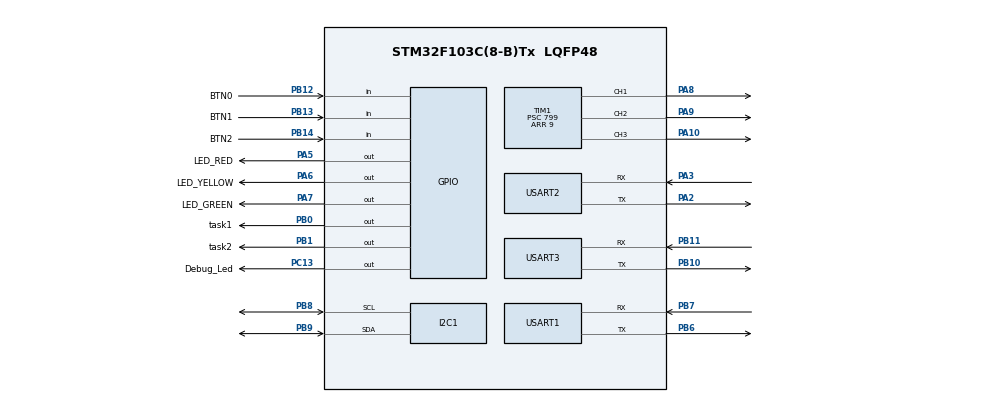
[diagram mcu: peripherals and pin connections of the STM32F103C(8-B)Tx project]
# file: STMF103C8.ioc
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Dma.Request0=USART3_TX
Dma.Request1=USART1_TX
Dma.USART1_TX.1.Direction=DMA_MEMORY_TO_PERIPH
Dma.USART1_TX.1.Instance=DMA1_Channel4
Dma.USART1_TX.1.MemDataAlignment=DMA_MDATAALIGN_BYTE
Dma.USART1_TX.1.MemInc=DMA_MINC_ENABLE
Dma.USART1_TX.1.Mode=DMA_NORMAL
Dma.USART1_TX.1.PeriphDataAlignment=DMA_PDATAALIGN_BYTE
Dma.USART1_TX.1.PeriphInc=DMA_PINC_DISABLE
Dma.USART1_TX.1.Priority=DMA_PRIORITY_LOW
Dma.USART3_TX.0.Direction=DMA_MEMORY_TO_PERIPH
Dma.USART3_TX.0.Instance=DMA1_Channel2
Dma.USART3_TX.0.MemDataAlignment=DMA_MDATAALIGN_BYTE
Dma.USART3_TX.0.MemInc=DMA_MINC_ENABLE
Dma.USART3_TX.0.Mode=DMA_NORMAL
Dma.USART3_TX.0.PeriphDataAlignment=DMA_PDATAALIGN_BYTE
Dma.USART3_TX.0.PeriphInc=DMA_PINC_DISABLE
Dma.USART3_TX.0.Priority=DMA_PRIORITY_LOW
Mcu.Family=STM32F1
Mcu.Name=STM32F103C(8-B)Tx
Mcu.Package=LQFP48
NVIC.DMA1_Channel2_IRQn=true\:0\:0\:false\:false\:true\:false\:true\:true
NVIC.DMA1_Channel4_IRQn=true\:0\:0\:false\:false\:true\:false\:true\:true
NVIC.PriorityGroup=NVIC_PRIORITYGROUP_4
NVIC.TIM2_IRQn=true\:0\:0\:false\:false\:true\:true\:true\:true
NVIC.USART1_IRQn=true\:0\:0\:false\:false\:true\:true\:true\:true
NVIC.USART3_IRQn=true\:0\:0\:false\:false\:true\:true\:true\:true
PA10.Signal=S_TIM1_CH3
PA13.Mode=Serial_Wire
PA13.Signal=SYS_JTMS-SWDIO
PA14.Mode=Serial_Wire
PA14.Signal=SYS_JTCK-SWCLK
PA2.Mode=Asynchronous
PA2.Signal=USART2_TX
PA3.Mode=Asynchronous
PA3.Signal=USART2_RX
PA5.GPIO_Label=LED_RED
PA5.Signal=GPIO_Output
PA6.GPIO_Label=LED_YELLOW
PA6.Signal=GPIO_Output
PA7.GPIO_Label=LED_GREEN
PA7.Signal=GPIO_Output
PA8.Signal=S_TIM1_CH1
PA9.Signal=S_TIM1_CH2
PB0.GPIO_Label=task1
PB0.Signal=GPIO_Output
PB1.GPIO_Label=task2
PB1.Signal=GPIO_Output
PB10.Mode=Asynchronous
PB10.Signal=USART3_TX
PB11.Mode=Asynchronous
PB11.Signal=USART3_RX
PB12.GPIO_Label=BTN0
PB12.GPIO_PuPd=GPIO_PULLUP
PB12.Signal=GPIO_Input
PB13.GPIO_Label=BTN1
PB13.GPIO_PuPd=GPIO_PULLUP
PB13.Signal=GPIO_Input
PB14.GPIO_Label=BTN2
PB14.GPIO_PuPd=GPIO_PULLUP
PB14.Signal=GPIO_Input
PB6.Mode=Asynchronous
PB6.Signal=USART1_TX
PB7.Mode=Asynchronous
PB7.Signal=USART1_RX
PB8.Mode=I2C
PB8.Signal=I2C1_SCL
PB9.Mode=I2C
PB9.Signal=I2C1_SDA
PC13-TAMPER-RTC.GPIO_Label=Debug_Led
PC13-TAMPER-RTC.Signal=GPIO_Output
ProjectManager.HeapSize=0x200
ProjectManager.StackSize=0x400
ProjectManager.TargetToolchain=STM32CubeIDE
RCC.APB1Freq_Value=8000000
RCC.APB2Freq_Value=8000000
SH.S_TIM1_CH1.0=TIM1_CH1,PWM Generation1 CH1
SH.S_TIM1_CH2.0=TIM1_CH2,PWM Generation2 CH2
SH.S_TIM1_CH3.0=TIM1_CH3,PWM Generation3 CH3
TIM1.Channel-PWM\ Generation1\ CH1=TIM_CHANNEL_1
TIM1.Channel-PWM\ Generation2\ CH2=TIM_CHANNEL_2
TIM1.Channel-PWM\ Generation3\ CH3=TIM_CHANNEL_3
TIM1.Period=9
TIM1.Prescaler=799
TIM2.Period=9
TIM2.Prescaler=7999
USART1.VirtualMode=VM_ASYNC
USART2.VirtualMode=VM_ASYNC
USART3.VirtualMode=VM_ASYNC
VP_TIM1_VS_ClockSourceINT.Mode=Internal
VP_TIM2_VS_ClockSourceINT.Mode=Internal
board=custom

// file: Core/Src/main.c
/* USER CODE BEGIN Header */
/**
  ******************************************************************************
  * @file           : main.c
  * @brief          : Main program body
  ******************************************************************************
  * @attention
  *
  * Copyright (c) 2024 STMicroelectronics.
  * All rights reserved.
  *
  * This software is licensed under terms that can be found in the LICENSE file
  * in the root directory of this software component.
  * If no LICENSE file comes with this software, it is provided AS-IS.
  *
  ******************************************************************************
  */
/* USER CODE END Header */
#include "main.h"
#include "dma.h"
#include "i2c.h"
#include "tim.h"
#include "usart.h"
#include "gpio.h"

/* USER CODE BEGIN Includes */
#include "scheduler_O(1).h"
#include "software_timer.h"
#include "physics.h"
#include "fsm_lcd.h"
#include "fsm_sensor.h"
/* USER CODE END Includes */

void SystemClock_Config(void);

/* USER CODE BEGIN 0 */
void task1(void){
	HAL_GPIO_TogglePin(task1_GPIO_Port, task1_Pin);
}
/* USER CODE END 0 */

int main(void)
{

  /* MCU Configuration--------------------------------------------------------*/

  /* Reset of all peripherals, Initializes the Flash interface and the Systick. */
  HAL_Init();

  /* Configure the system clock */
  SystemClock_Config();

  /* Initialize all configured peripherals */
  MX_GPIO_Init();
  MX_DMA_Init();
  MX_USART1_UART_Init();
  MX_TIM2_Init();
  MX_I2C1_Init();
  MX_TIM1_Init();
  MX_USART3_UART_Init();
  MX_USART2_UART_Init();
  /* USER CODE BEGIN 2 */
  init_System();
  Connect_AdafruitServer();
  SCH_Init();
  SCH_Add_Task(task1, 1, 0);
  SCH_Add_Task(button_reading, 1, 0);
  SCH_Add_Task(WeatherStation, 1, 0);
  SCH_Add_Task(fsm_readSensor, 100, 0);
  SCH_Add_Task(Uart_SendData, 300, 0);
  SCH_Add_Task(Publish_Task, 2000, 10);
  HAL_TIM_Base_Start_IT(&htim2);

  /* USER CODE END 2 */

  /* Infinite loop */
  while (1)
  {

    /* USER CODE BEGIN 3 */
	  SCH_Dispatch_Task();

  /* USER CODE END 3 */
  }
}
void SystemClock_Config(void)
{
  RCC_OscInitTypeDef RCC_OscInitStruct = {0};
  RCC_ClkInitTypeDef RCC_ClkInitStruct = {0};

  /** Initializes the RCC Oscillators according to the specified parameters
  * in the RCC_OscInitTypeDef structure.
  */
  RCC_OscInitStruct.OscillatorType = RCC_OSCILLATORTYPE_HSI;
  RCC_OscInitStruct.HSIState = RCC_HSI_ON;
  RCC_OscInitStruct.HSICalibrationValue = RCC_HSICALIBRATION_DEFAULT;
  RCC_OscInitStruct.PLL.PLLState = RCC_PLL_NONE;
  if (HAL_RCC_OscConfig(&RCC_OscInitStruct) != HAL_OK)
  {
    Error_Handler();
  }

  /** Initializes the CPU, AHB and APB buses clocks
  */
  RCC_ClkInitStruct.ClockType = RCC_CLOCKTYPE_HCLK|RCC_CLOCKTYPE_SYSCLK
                              |RCC_CLOCKTYPE_PCLK1|RCC_CLOCKTYPE_PCLK2;
  RCC_ClkInitStruct.SYSCLKSource = RCC_SYSCLKSOURCE_HSI;
  RCC_ClkInitStruct.AHBCLKDivider = RCC_SYSCLK_DIV1;
  RCC_ClkInitStruct.APB1CLKDivider = RCC_HCLK_DIV1;
  RCC_ClkInitStruct.APB2CLKDivider = RCC_HCLK_DIV1;

  if (HAL_RCC_ClockConfig(&RCC_ClkInitStruct, FLASH_LATENCY_0) != HAL_OK)
  {
    Error_Handler();
  }
}

void Error_Handler(void)
{
  __disable_irq();
  while (1)
  {
  }
}
